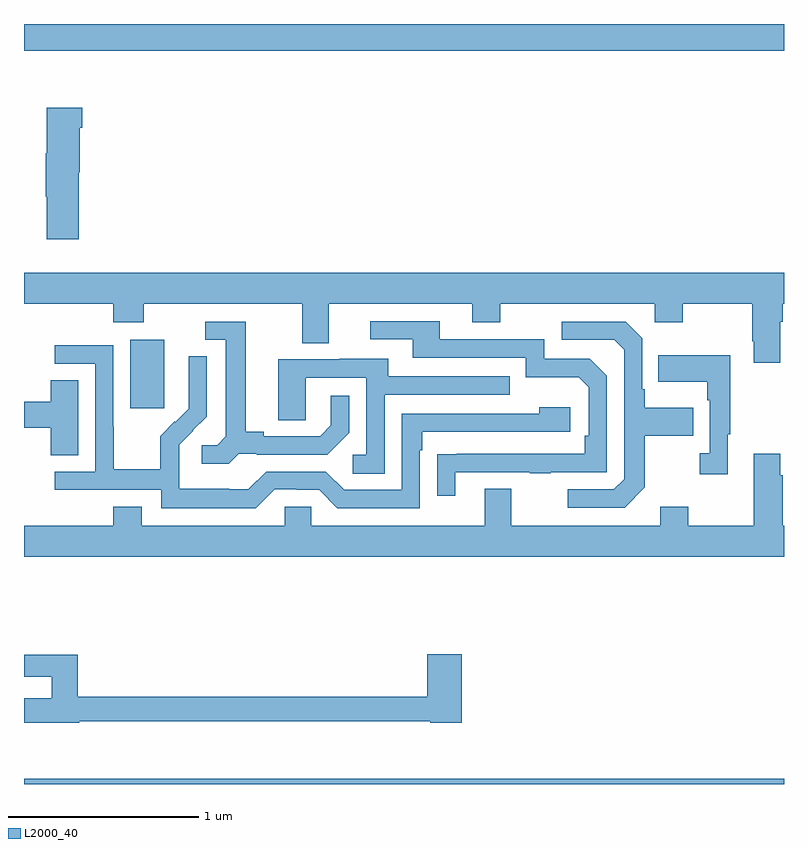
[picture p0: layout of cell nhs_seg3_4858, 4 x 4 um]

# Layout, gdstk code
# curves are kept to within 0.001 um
import gdstk
lib = gdstk.Library(unit=1e-6, precision=1e-09)
def R(c, l, rs):  # rectangles x0, y0, x1, y1
    for r in rs: c.add(gdstk.rectangle(r[:2], r[2:], *l))
def P(c, l, *ps):  # polygons
    for p in ps: c.add(gdstk.Polygon(p, *l))
L2000_40 = (2000, 40)

nhs_seg3_4858 = lib.new_cell('nhs_seg3_4858')
R(nhs_seg3_4858, L2000_40, [(373,686.4,377,686.428), (373.559,688.377,373.738,688.738), (373,690.26,377,690.4)])
P(nhs_seg3_4858, L2000_40, [(373.289,689.619),(373.294,689.619),(373.294,689.855),(373.307,689.855),(373.307,689.959),(373.121,689.959),(373.121,689.719),(373.114,689.719),(373.114,689.491),(373.121,689.491),(373.121,689.268),(373.289,689.268)],
  [(376.981,688.832),(376.994,688.832),(376.994,688.928),(377,688.928),(377,689.092),(373,689.092),(373,688.928),(373.469,688.928),(373.469,688.829),(373.629,688.829),(373.629,688.928),(374.465,688.928),(374.465,688.72),(374.605,688.72),(374.605,688.928),(375.359,688.928),(375.359,688.829),(375.507,688.829),(375.507,688.928),(376.32,688.928),(376.32,688.829),(376.467,688.829),(376.467,688.928),(376.834,688.928),(376.834,688.729),(376.841,688.729),(376.841,688.617),(376.981,688.617)],
  [(375.271,688.041),(375.661,688.041),(375.661,688.036),(375.773,688.036),(375.773,688.041),(376.068,688.041),(376.068,688.548),(375.978,688.638),(375.738,688.638),(375.738,688.74),(375.187,688.74),(375.187,688.836),(374.823,688.836),(374.823,688.74),(375.047,688.74),(375.047,688.644),(375.642,688.644),(375.642,688.541),(375.919,688.541),(375.972,688.488),(375.972,688.234),(375.952,688.234),(375.952,688.137),(375.175,688.136),(375.175,687.918),(375.271,687.918)],
  [(376.267,687.961),(376.267,688.234),(376.523,688.234),(376.523,688.381),(376.267,688.381),(376.267,688.477),(376.254,688.477),(376.254,688.746),(376.167,688.833),(375.831,688.833),(375.831,688.737),(376.107,688.737),(376.158,688.686),(376.158,688.005),(376.104,687.951),(375.861,687.951),(375.861,687.855),(376.161,687.855)],
  [(374.13,688.137),(374.224,688.137),(374.224,688.134),(374.596,688.134),(374.712,688.25),(374.712,688.444),(374.615,688.444),(374.615,688.287),(374.558,688.23),(374.263,688.23),(374.263,688.253),(374.167,688.253),(374.167,688.833),(373.953,688.833),(373.953,688.737),(374.063,688.737),(374.063,688.229),(374.016,688.182),(373.935,688.182),(373.935,688.085),(374.078,688.085)],
  [(374.319,687.951),(374.435,687.951),(374.435,687.948),(374.553,687.948),(374.649,687.852),(375.084,687.852),(375.084,688.157),(375.097,688.157),(375.097,688.254),(375.874,688.254),(375.874,688.384),(375.713,688.384),(375.713,688.35),(374.988,688.35),(374.988,687.948),(374.685,687.948),(374.589,688.044),(374.274,688.044),(374.181,687.951),(374.081,687.951),(374.081,687.955),(373.818,687.955),(373.818,688.089),(373.816,688.089),(373.816,688.186),(373.962,688.334),(373.962,688.652),(373.866,688.652),(373.866,688.498),(373.868,688.498),(373.868,688.376),(373.797,688.305),(373.794,688.308),(373.717,688.231),(373.717,688.057),(373.473,688.057),(373.473,688.28),(373.47,688.28),(373.47,688.71),(373.161,688.71),(373.161,688.611),(373.374,688.611),(373.374,688.044),(373.161,688.044),(373.161,687.948),(373.722,687.948),(373.722,687.851),(374.219,687.851)],
  [(376.705,688.241),(376.717,688.241),(376.717,688.657),(376.339,688.657),(376.339,688.517),(376.596,688.517),(376.596,688.421),(376.608,688.421),(376.608,688.142),(376.557,688.142),(376.557,688.029),(376.705,688.029)],
  [(374.898,688.449),(375.557,688.449),(375.557,688.545),(374.917,688.545),(374.917,688.639),(374.663,688.639),(374.663,688.635),(374.339,688.635),(374.339,688.315),(374.484,688.315),(374.484,688.539),(374.802,688.539),(374.802,688.134),(374.73,688.134),(374.73,688.033),(374.898,688.033)],
  [(373.285,688.526),(373.142,688.526),(373.142,688.412),(373,688.412),(373,688.276),(373.142,688.276),(373.142,688.129),(373.285,688.129)],
  [(377,687.76),(376.994,687.76),(376.994,688.025),(376.981,688.025),(376.981,688.138),(376.841,688.138),(376.841,687.76),(376.497,687.76),(376.497,687.859),(376.349,687.859),(376.349,687.76),(375.565,687.76),(375.565,687.955),(375.425,687.955),(375.425,687.76),(374.511,687.76),(374.511,687.858),(374.373,687.858),(374.373,687.76),(373.621,687.76),(373.621,687.859),(373.469,687.859),(373.469,687.76),(373,687.76),(373,687.596),(377,687.596)],
  [(373.29,686.73),(375.138,686.73),(375.138,686.722),(375.305,686.722),(375.305,687.082),(375.122,687.082),(375.122,686.858),(373.283,686.858),(373.283,687.08),(373,687.08),(373,686.964),(373.147,686.964),(373.147,686.851),(373,686.851),(373,686.722),(373.29,686.722)])

lib.write_gds('nhs_seg3_4858.gds')
